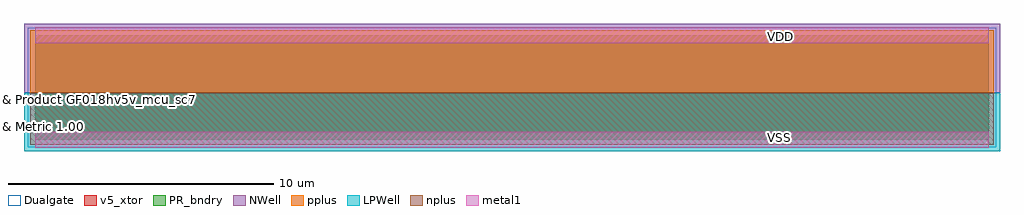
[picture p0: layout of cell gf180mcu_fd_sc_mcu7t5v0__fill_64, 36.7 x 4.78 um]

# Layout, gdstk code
import gdstk
lib = gdstk.Library(unit=1e-6, precision=1e-09)
def R(c, l, rs):  # rectangles x0, y0, x1, y1
    for r in rs: c.add(gdstk.rectangle(r[:2], r[2:], *l))
PR_bndry = (0, 0)
NWell = (21, 0)
pplus = (31, 0)
nplus = (32, 0)
metal1 = (34, 0)
Dualgate = (55, 0)
v5_xtor = (112, 1)
LPWell = (204, 0)

gf180mcu_fd_sc_mcu7t5v0_ = lib.new_cell('gf180mcu_fd_sc_mcu7t5v0__fill_64')
R(gf180mcu_fd_sc_mcu7t5v0_, PR_bndry, [(0,0,35.84,3.92)])
R(gf180mcu_fd_sc_mcu7t5v0_, NWell, [(-0.43,1.76,36.27,4.35)])
R(gf180mcu_fd_sc_mcu7t5v0_, pplus, [(-0.2,1.76,36.04,4.12)])
R(gf180mcu_fd_sc_mcu7t5v0_, nplus, [(-0.2,-0.2,36.04,1.76)])
R(gf180mcu_fd_sc_mcu7t5v0_, metal1, [(0,-0.3,35.84,0.3), (0,3.62,35.84,4.22)])
R(gf180mcu_fd_sc_mcu7t5v0_, Dualgate, [(-0.28,-0.28,36.12,4.2)])
R(gf180mcu_fd_sc_mcu7t5v0_, v5_xtor, [(0,0,35.84,3.92)])
R(gf180mcu_fd_sc_mcu7t5v0_, LPWell, [(-0.43,-0.43,36.27,1.76)])
gf180mcu_fd_sc_mcu7t5v0_.add(gdstk.Label('VSS', (27.965,0.08), layer=34, texttype=10))
gf180mcu_fd_sc_mcu7t5v0_.add(gdstk.Label('VDD', (28.02,3.865), layer=34, texttype=10))
gf180mcu_fd_sc_mcu7t5v0_.add(gdstk.Label('& Metric 1.00', (0,0.5), layer=63, texttype=63))
gf180mcu_fd_sc_mcu7t5v0_.add(gdstk.Label('& Version 2015q2v1', (0,1), layer=63, texttype=63))
gf180mcu_fd_sc_mcu7t5v0_.add(gdstk.Label('& Product GF018hv5v_mcu_sc7', (0,1.5), layer=63, texttype=63))
gf180mcu_fd_sc_mcu7t5v0_.add(gdstk.Label('& Vendor GLOBALFOUNDRIES', (0,2), layer=63, texttype=63))

lib.write_gds('gf180mcu_fd_sc_mcu7t5v0__fill_64.gds')
